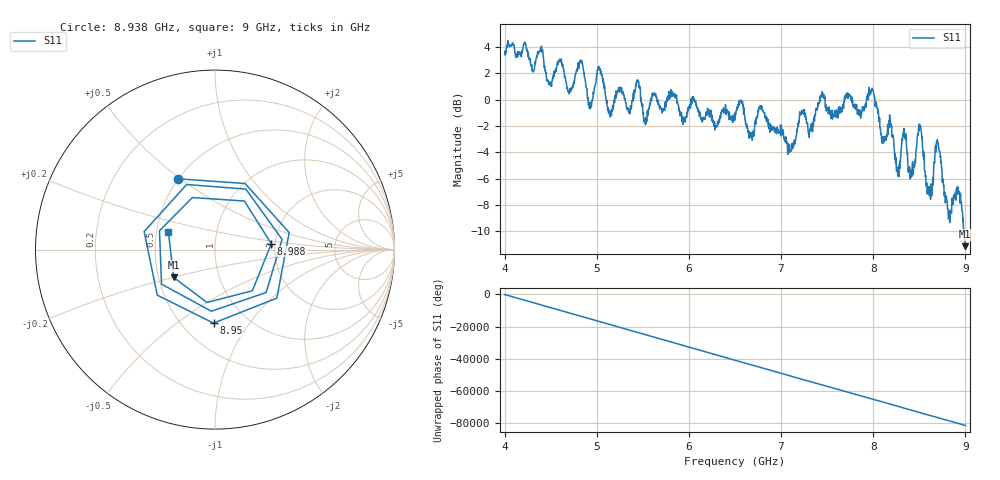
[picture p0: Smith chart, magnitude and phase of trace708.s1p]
! Created with skrf 1.8.0 (http://scikit-rf.org).
# Hz S RI R 50.0
!freq ReS11 ImS11
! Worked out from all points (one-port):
!   1601 points, 4 GHz to 9 GHz, reference 50 ohm
!   lowest |S11| = -11.1 dB at 8.997 GHz (marker M1), VSWR 1.77, Z = 30 - j10.1 ohm
!   |S11| at or under -10 dB: 8.984694 GHz to end of sweep
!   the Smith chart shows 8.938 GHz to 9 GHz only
!   S11 on the Smith chart (normalised r, x): 8.938 GHz: 0.50, +0.49; 8.95 GHz: 0.70, -0.69; 8.988 GHz: 1.91, +0.14; 9 GHz: 0.58, +0.13
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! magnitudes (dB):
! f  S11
! 4 GHz  3.5
! 4.625 GHz  2.6
! 4.709 GHz  0.8
! 4.838 GHz  2.9
! 4.925 GHz  -0.2
! 5.025 GHz  2.4
! 5.141 GHz  -1.0
! 5.25 GHz  0.8
! 5.447 GHz  1.5
! 5.528 GHz  -1.9
! 5.875 GHz  -0.1
! 6.5 GHz  -1.0
! 7.125 GHz  -3.7
! 7.228 GHz  -1.0
! 7.75 GHz  0.3
! 7.991 GHz  0.8
! 8.262 GHz  -5.3
! 8.334 GHz  -2.2
! 8.375 GHz  -4.9
! 8.506 GHz  -2.0
! 8.597 GHz  -7.1
! 8.7 GHz  -3.3
! 8.825 GHz  -8.4
! 8.938 GHz  -7.0
! 8.95 GHz  -7.8
! 8.988 GHz  -10.0
! 8.997 GHz  -11.1
! 9 GHz  -11.1
